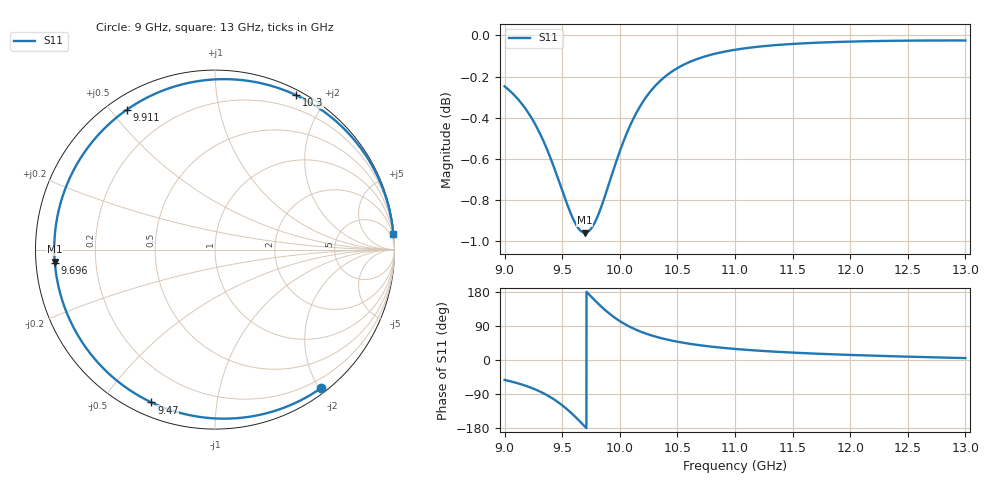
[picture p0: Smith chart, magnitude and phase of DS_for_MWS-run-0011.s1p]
! TOUCHSTONE file generated by CST DESIGN STUDIO
! Date and time: Tue Feb  4 18:20:28 2025
! Project name: C:\Work\MatlabApps\UnitCellOptimizationMatlab\CST\unitcell.cst
! Tree item: Tasks\Sweep1\SPara1\S-Parameters
! Header version: 2024
! Port assignment regex: !\s*Touchstone port\s*([0-9]+)\s*=\s*(CST MWS port|CST DES external port|CST DES block port)\s*(.+)\s* \(\"(.*)\"\)(\s*mode\s*([0-9]+))?.*
! Touchstone port assignment:
! Touchstone port 1 = CST DES external port 1 ("")
# GHz S MA R 50
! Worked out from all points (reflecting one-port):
!   4001 points, 9 GHz to 13 GHz, reference 50 ohm
!   lowest |S11| = -1.0 dB at 9.697 GHz (marker M1), VSWR 18.13, Z = 2.76 - j1.88 ohm
!   phase of S11 starts at -53 deg and turns -302 deg over the sweep
!   S11 on the Smith chart (normalised r, x): 9 GHz: 0.07, -2.02; 9.47 GHz: 0.06, -0.67; 9.696 GHz: 0.06, -0.04; 9.911 GHz: 0.05, +0.55; 10.3 GHz: 0.05, +1.65; 13 GHz: 1, +23
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9  0.9719 -52.6
9.127  0.9642 -62.6
9.247  0.9535 -75.2
9.372  0.9377 -93.4
9.47  0.922 -112.6
9.5  0.9169 -119.5
9.546  0.9094 -131.0
9.591  0.9029 -143.4
9.646  0.8973 -159.7
9.696  0.8955 -175.4
9.697  0.8955 -175.7
9.743  0.897 169.8
9.791  0.9016 155.0
9.852  0.9107 137.4
9.911  0.9213 122.1
9.954  0.9292 112.2
10  0.9372 102.7
10.067  0.9477 90.8
10.147  0.958 79.1
10.222  0.9655 70.2
10.303  0.9719 62.3
10.5  0.9819 48.3
10.718  0.9879 38.0
11  0.992 29.2
11.5  0.9953 19.5
12  0.9966 13.3
12.5  0.9971 8.8
13  0.9972 5.0
